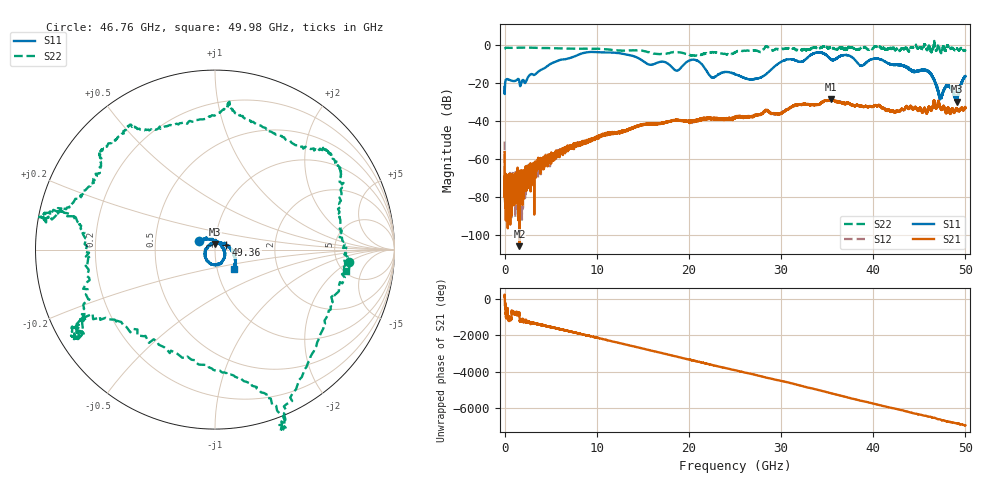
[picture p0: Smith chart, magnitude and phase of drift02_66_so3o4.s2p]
!Created with skrf (http://scikit-rf.org).
# Hz S RI R 50.0
!freq ReS11 ImS11 ReS21 ImS21 ReS12 ImS12 ReS22 ImS22
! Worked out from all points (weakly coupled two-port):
!   10001 points, 300 kHz to 50 GHz, reference 50 ohm
!   highest |S21| = -28.49 dB at 35.38 GHz (marker M1); lowest = -105.9 dB at 1.605 GHz (marker M2)
!   lowest |S11| = -29.9 dB at 49.07 GHz (marker M3), VSWR 1.07, Z = 49.7 + j3.19 ohm
!   |S11| at or under -10 dB: start of sweep to 4.957 GHz; 21.38 GHz to 29.63 GHz (8.252 GHz wide, 32.4 % of centre); 41.9 GHz to end of sweep (the widest 3 of 11)
!   |S22| runs from -5.7 to 2.4 dB; largest |S21 - S12| = 0.0036
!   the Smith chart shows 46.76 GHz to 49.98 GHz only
!   S11 on the Smith chart (normalised r, x): 46.76 GHz: 0.83, +0.08; 49.36 GHz: 1.13, +0.06; 49.98 GHz: 1.21, -0.27
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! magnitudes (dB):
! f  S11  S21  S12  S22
! 300 kHz  -22.1  -56.4  -50.8  -2.1
! 260.3 MHz  -17.9  -68.8  -78.9  -1.4
! 1.605 GHz  -19.6  -105.9  -72.4  -1.4
! 3.7 GHz  -13.8  -62.6  -64.8  -1.5
! 8.335 GHz  -4.5  -51.4  -51.4  -1.9
! 16.67 GHz  -9.1  -41.4  -41.4  -4.7
! 18.7 GHz  -13.5  -39.5  -39.6  -3.7
! 20.6 GHz  -7.7  -39.9  -40.3  -5.7
! 22.52 GHz  -17.1  -38.9  -39.0  -3.7
! 25 GHz  -15.3  -38.5  -38.3  -3.9
! 27.5 GHz  -17.6  -36.6  -36.7  -3.2
! 33.34 GHz  -4.9  -31.3  -31.3  -1.6
! 35.38 GHz  -7.3  -28.5  -28.6  -1.5
! 41.67 GHz  -9.7  -34.3  -34.1  -1.8
! 45.8 GHz  -13.6  -35.4  -35.5  -2.4
! 46.76 GHz  -19.7  -33.1  -33.0  -2.5
! 47.27 GHz  -27.7  -32.9  -33.0  -3.3
! 48.1 GHz  -21.4  -32.8  -33.4  -0.4
! 49.07 GHz  -29.9  -33.5  -33.6  -1.7
! 49.36 GHz  -23.4  -34.6  -34.6  -2.7
! 49.98 GHz  -16.3  -32.5  -32.9  -2.6
! 50 GHz  -16.4  -32.9  -32.5  -2.7
